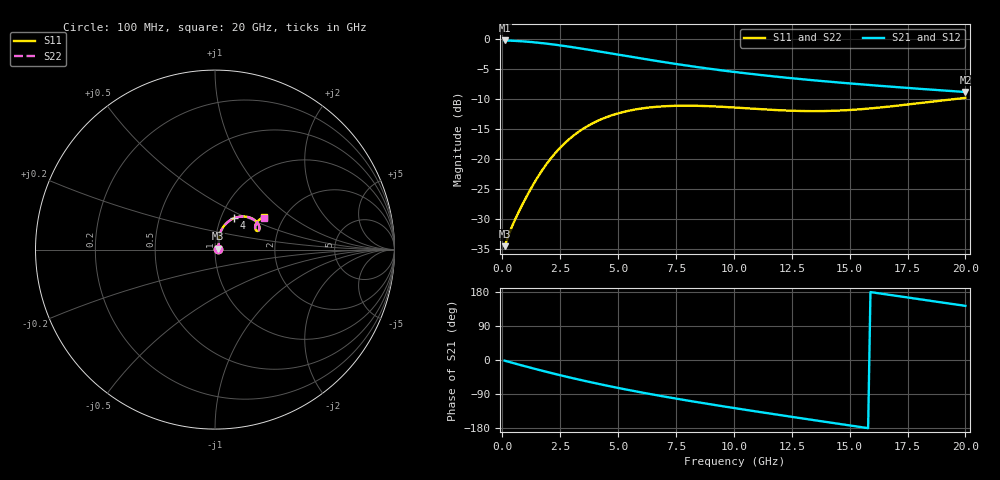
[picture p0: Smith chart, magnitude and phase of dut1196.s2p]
! Touchstone file exported from HFSS 2024.1.0
!  File:  C:/UserFiles/LocalFiles/RDL_TSV_Batchsim/temp_RDL_TSV_1196_1780129208.aedt
!  Generated:  04:37:16 PM May 30, 2026
!  Design:  RDL_TSV
!  Project:  temp_RDL_TSV_1196_1780129208
!  Setup:  Setup1
!  Solution:  Sweep
! Variables:
!  dtsv = 7.74um
!  hbump = 3um
!  htsv = 61.8um
!  ldown = 469.96um
!  lrdl = 488.55um
!  p = 40
!  p1 = 42.51um
!  rhole = 10um
!  subl = 3364.08um
!  t = 450um
!  tdown = 2.98um
!  trdl = 3.92um
!  viad = 10um
!  wdown = 23.47um
!  wrdl = 17.57um
!  xbump = 18um
# GHz S MA R 50.000000
! Terminal data exported
! Port[1] = TM1_1_T1
! Port[2] = TM1_4_T1
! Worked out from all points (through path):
!   200 points, 100 MHz to 20 GHz, reference 50 ohm
!   highest |S21| = -0.16 dB at 100 MHz (marker M1); lowest = -8.8 dB at 20 GHz (marker M2)
!   group delay of S21, straight-line fit = 28.7 ps
!   lowest |S11| = -34.5 dB at 100 MHz (marker M3), VSWR 1.04, Z = 51.8 + j0.52 ohm
!   |S11| at or under -10 dB: start of sweep to 19.4 GHz
!   |S22| runs from -34.5 to -9.8 dB; largest |S21 - S12| = 3.4e-14
!   S11 on the Smith chart (normalised r, x): 100 MHz: 1.04, +0.01; 4 GHz: 1.15, +0.42; 20 GHz: 1.59, +0.64
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0.1  0.0188 15.5  0.9817 -1.8  0.9817 -1.8  0.0188 15.5
! Gamma 0 0 0 0
! Port Impedance 50 0 50 0
0.4  0.02687 41.3  0.977 -6.9  0.977 -6.9  0.02688 41.3
0.7  0.036 54.4  0.9702 -11.9  0.9702 -11.9  0.03601 54.4
1.2  0.05522 67.2  0.9545 -20.1  0.9545 -20.1  0.05522 67.1
1.7  0.07973 72.1  0.9336 -28.0  0.9336 -28.0  0.07968 72.0
2.1  0.1018 72.4  0.914 -34.2  0.914 -34.2  0.1017 72.4
2.5  0.1249 71.0  0.8926 -40.2  0.8926 -40.2  0.1247 70.9
3  0.1534 67.6  0.8643 -47.4  0.8643 -47.4  0.1532 67.5
3.5  0.1801 63.4  0.835 -54.4  0.835 -54.4  0.1799 63.3
4  0.204 58.9  0.8056 -61.1  0.8056 -61.1  0.2037 58.8
4.6  0.2282 53.5  0.7706 -68.8  0.7706 -68.8  0.2279 53.4
5.3  0.25 47.5  0.7314 -77.3  0.7314 -77.3  0.2496 47.4
6  0.2652 42.0  0.6945 -85.5  0.6945 -85.5  0.2648 42.0
6.8  0.2755 36.6  0.6557 -94.4  0.6557 -94.4  0.2751 36.6
8.4  0.2795 28.6  0.5892 -111.1  0.5892 -111.1  0.279 28.6
10.1  0.2698 24.2  0.5335 -127.6  0.5335 -127.6  0.2695 24.1
11.7  0.2582 23.6  0.4923 -142.6  0.4923 -142.6  0.2579 23.5
13.4  0.2523 26.1  0.4572 -158.2  0.4572 -158.2  0.2519 26.0
15  0.2577 29.8  0.4297 -172.7  0.4297 -172.7  0.2572 29.6
16.7  0.2753 32.9  0.4047 172.1  0.4047 172.1  0.2746 32.7
18.4  0.3004 34.0  0.3827 157.0  0.3827 157.0  0.2994 33.8
20  0.3254 33.4  0.3643 142.9  0.3643 142.9  0.3242 33.2
